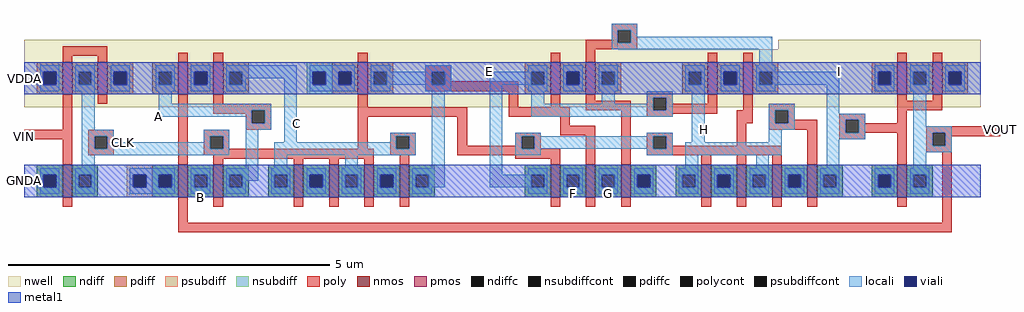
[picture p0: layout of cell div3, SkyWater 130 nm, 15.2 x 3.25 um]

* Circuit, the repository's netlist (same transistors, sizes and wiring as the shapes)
* NGSPICE file created from div3.ext - technology: sky130A

**.subckt div3
X0 B VOUT GNDA GNDA sky130_fd_pr__nfet_01v8 ad=0.1 pd=0.9 as=0.2 ps=1.8 w=0.5 l=0.15
X1 C CLK GNDA GNDA sky130_fd_pr__nfet_01v8 ad=0.1 pd=0.9 as=0.1 ps=0.9 w=0.5 l=0.15
X2 GNDA CLK H GNDA sky130_fd_pr__nfet_01v8 ad=0.1 pd=0.9 as=0.1 ps=0.9 w=0.5 l=0.15
X3 E I VDDA VDDA sky130_fd_pr__pfet_01v8 ad=0.2 pd=1.8 as=0.1 ps=0.9 w=0.5 l=0.15
X4 VOUT I GNDA GNDA sky130_fd_pr__nfet_01v8 ad=0.2 pd=1.8 as=0.2 ps=1.8 w=0.5 l=0.15
X5 VDDA E H VDDA sky130_fd_pr__pfet_01v8 ad=0.1 pd=0.9 as=0.2 ps=1.8 w=0.5 l=0.15
X6 F CLK E GNDA sky130_fd_pr__nfet_01v8 ad=0.1 pd=0.9 as=0.2 ps=1.8 w=0.5 l=0.15
X7 GNDA CLK H GNDA sky130_fd_pr__nfet_01v8 ad=0.1 pd=0.9 as=0.2 ps=1.8 w=0.5 l=0.15
X8 C A VDDA VDDA sky130_fd_pr__pfet_01v8 ad=0.2 pd=1.8 as=0.1 ps=0.9 w=0.5 l=0.15
X9 VDDA VIN CLK VDDA sky130_fd_pr__pfet_01v8 ad=0.2 pd=1.8 as=0.1 ps=0.9 w=0.5 l=0.15
X10 CLK VIN GNDA GNDA sky130_fd_pr__nfet_01v8 ad=0.2 pd=1.8 as=0.2 ps=1.8 w=0.5 l=0.15
X11 GNDA CLK C GNDA sky130_fd_pr__nfet_01v8 ad=0.1 pd=0.9 as=0.1 ps=0.9 w=0.5 l=0.15
X12 VDDA VOUT A VDDA sky130_fd_pr__pfet_01v8 ad=0.1 pd=0.9 as=0.2 ps=1.8 w=0.5 l=0.15
X13 a_2280_250# CLK VDDA VDDA sky130_fd_pr__pfet_01v8 ad=0.2 pd=1.8 as=0.2 ps=1.8 w=0.5 l=0.15
X14 I H GNDA GNDA sky130_fd_pr__nfet_01v8 ad=0.2 pd=1.8 as=0.1 ps=0.9 w=0.5 l=0.15
X15 GNDA CLK C GNDA sky130_fd_pr__nfet_01v8 ad=0.1 pd=0.9 as=0.2 ps=1.8 w=0.5 l=0.15
X16 G a_2280_250# F GNDA sky130_fd_pr__nfet_01v8 ad=0.1 pd=0.9 as=0.1 ps=0.9 w=0.5 l=0.15
X17 I CLK VDDA VDDA sky130_fd_pr__pfet_01v8 ad=0.2 pd=1.8 as=0.1 ps=0.9 w=0.5 l=0.15
X18 VOUT I VDDA VDDA sky130_fd_pr__pfet_01v8 ad=0.1 pd=0.9 as=0.2 ps=1.8 w=0.5 l=0.15
X19 H CLK GNDA GNDA sky130_fd_pr__nfet_01v8 ad=0.1 pd=0.9 as=0.1 ps=0.9 w=0.5 l=0.15
X20 VDDA a_2280_250# E VDDA sky130_fd_pr__pfet_01v8 ad=0.1 pd=0.9 as=0.2 ps=1.8 w=0.5 l=0.15
X21 A CLK B GNDA sky130_fd_pr__nfet_01v8 ad=0.2 pd=1.8 as=0.1 ps=0.9 w=0.5 l=0.15
X22 GNDA I G GNDA sky130_fd_pr__nfet_01v8 ad=0.2 pd=1.8 as=0.1 ps=0.9 w=0.5 l=0.15
X23 VDDA I VOUT VDDA sky130_fd_pr__pfet_01v8 ad=0.2 pd=1.8 as=0.1 ps=0.9 w=0.5 l=0.15
X24 a_2280_250# C GNDA GNDA sky130_fd_pr__nfet_01v8 ad=0.2 pd=1.8 as=0.1 ps=0.9 w=0.5 l=0.15
X25 CLK VIN VDDA VDDA sky130_fd_pr__pfet_01v8 ad=0.1 pd=0.9 as=0.2 ps=1.8 w=0.5 l=0.15
**.ends

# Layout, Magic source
magic
tech sky130A
<< nwell >>
rect 605 195 1530 210
rect 1780 195 2095 210
rect 605 105 2095 195
<< nmos >>
rect 665 -35 680 15
rect 845 -35 860 15
rect 900 -35 915 15
rect 1025 -35 1040 15
rect 1080 -35 1095 15
rect 1135 -35 1150 15
rect 1190 -35 1205 15
rect 1425 -35 1440 15
rect 1480 -35 1495 15
rect 1535 -35 1550 15
rect 1660 -35 1675 15
rect 1715 -35 1730 15
rect 1770 -35 1785 15
rect 1825 -35 1840 15
rect 1965 -35 1980 15
<< pmos >>
rect 665 125 680 175
rect 720 125 735 175
rect 845 125 860 175
rect 900 125 915 175
rect 1125 125 1140 175
rect 1425 125 1440 175
rect 1480 125 1495 175
rect 1670 125 1685 175
rect 1725 125 1740 175
rect 1965 125 1980 175
rect 2020 125 2035 175
<< ndiff >>
rect 625 0 665 15
rect 625 -20 635 0
rect 655 -20 665 0
rect 625 -35 665 -20
rect 680 0 720 15
rect 680 -20 690 0
rect 710 -20 720 0
rect 680 -35 720 -20
rect 805 0 845 15
rect 805 -20 815 0
rect 835 -20 845 0
rect 805 -35 845 -20
rect 860 0 900 15
rect 860 -20 870 0
rect 890 -20 900 0
rect 860 -35 900 -20
rect 915 0 955 15
rect 915 -20 925 0
rect 945 -20 955 0
rect 915 -35 955 -20
rect 985 0 1025 15
rect 985 -20 995 0
rect 1015 -20 1025 0
rect 985 -35 1025 -20
rect 1040 0 1080 15
rect 1040 -20 1050 0
rect 1070 -20 1080 0
rect 1040 -35 1080 -20
rect 1095 0 1135 15
rect 1095 -20 1105 0
rect 1125 -20 1135 0
rect 1095 -35 1135 -20
rect 1150 0 1190 15
rect 1150 -20 1160 0
rect 1180 -20 1190 0
rect 1150 -35 1190 -20
rect 1205 0 1245 15
rect 1205 -20 1215 0
rect 1235 -20 1245 0
rect 1205 -35 1245 -20
rect 1385 0 1425 15
rect 1385 -20 1395 0
rect 1415 -20 1425 0
rect 1385 -35 1425 -20
rect 1440 0 1480 15
rect 1440 -20 1450 0
rect 1470 -20 1480 0
rect 1440 -35 1480 -20
rect 1495 0 1535 15
rect 1495 -20 1505 0
rect 1525 -20 1535 0
rect 1495 -35 1535 -20
rect 1550 0 1590 15
rect 1550 -20 1560 0
rect 1580 -20 1590 0
rect 1550 -35 1590 -20
rect 1620 0 1660 15
rect 1620 -20 1630 0
rect 1650 -20 1660 0
rect 1620 -35 1660 -20
rect 1675 0 1715 15
rect 1675 -20 1685 0
rect 1705 -20 1715 0
rect 1675 -35 1715 -20
rect 1730 0 1770 15
rect 1730 -20 1740 0
rect 1760 -20 1770 0
rect 1730 -35 1770 -20
rect 1785 0 1825 15
rect 1785 -20 1795 0
rect 1815 -20 1825 0
rect 1785 -35 1825 -20
rect 1840 0 1880 15
rect 1840 -20 1850 0
rect 1870 -20 1880 0
rect 1840 -35 1880 -20
rect 1925 0 1965 15
rect 1925 -20 1935 0
rect 1955 -20 1965 0
rect 1925 -35 1965 -20
rect 1980 0 2020 15
rect 1980 -20 1990 0
rect 2010 -20 2020 0
rect 1980 -35 2020 -20
<< pdiff >>
rect 625 160 665 175
rect 625 140 635 160
rect 655 140 665 160
rect 625 125 665 140
rect 680 160 720 175
rect 680 140 690 160
rect 710 140 720 160
rect 680 125 720 140
rect 735 160 775 175
rect 735 140 745 160
rect 765 140 775 160
rect 735 125 775 140
rect 805 160 845 175
rect 805 140 815 160
rect 835 140 845 160
rect 805 125 845 140
rect 860 160 900 175
rect 860 140 870 160
rect 890 140 900 160
rect 860 125 900 140
rect 915 160 955 175
rect 915 140 925 160
rect 945 140 955 160
rect 915 125 955 140
rect 1085 160 1125 175
rect 1085 140 1095 160
rect 1115 140 1125 160
rect 1085 125 1125 140
rect 1140 160 1180 175
rect 1140 140 1150 160
rect 1170 140 1180 160
rect 1140 125 1180 140
rect 1385 160 1425 175
rect 1385 140 1395 160
rect 1415 140 1425 160
rect 1385 125 1425 140
rect 1440 160 1480 175
rect 1440 140 1450 160
rect 1470 140 1480 160
rect 1440 125 1480 140
rect 1495 160 1535 175
rect 1495 140 1505 160
rect 1525 140 1535 160
rect 1495 125 1535 140
rect 1630 160 1670 175
rect 1630 140 1640 160
rect 1660 140 1670 160
rect 1630 125 1670 140
rect 1685 160 1725 175
rect 1685 140 1695 160
rect 1715 140 1725 160
rect 1685 125 1725 140
rect 1740 160 1780 175
rect 1740 140 1750 160
rect 1770 140 1780 160
rect 1740 125 1780 140
rect 1925 160 1965 175
rect 1925 140 1935 160
rect 1955 140 1965 160
rect 1925 125 1965 140
rect 1980 160 2020 175
rect 1980 140 1990 160
rect 2010 140 2020 160
rect 1980 125 2020 140
rect 2035 160 2075 175
rect 2035 140 2045 160
rect 2065 140 2075 160
rect 2035 125 2075 140
<< ndiffc >>
rect 635 -20 655 0
rect 690 -20 710 0
rect 815 -20 835 0
rect 870 -20 890 0
rect 925 -20 945 0
rect 995 -20 1015 0
rect 1050 -20 1070 0
rect 1105 -20 1125 0
rect 1160 -20 1180 0
rect 1215 -20 1235 0
rect 1395 -20 1415 0
rect 1450 -20 1470 0
rect 1505 -20 1525 0
rect 1560 -20 1580 0
rect 1630 -20 1650 0
rect 1685 -20 1705 0
rect 1740 -20 1760 0
rect 1795 -20 1815 0
rect 1850 -20 1870 0
rect 1935 -20 1955 0
rect 1990 -20 2010 0
<< pdiffc >>
rect 635 140 655 160
rect 690 140 710 160
rect 745 140 765 160
rect 815 140 835 160
rect 870 140 890 160
rect 925 140 945 160
rect 1095 140 1115 160
rect 1150 140 1170 160
rect 1395 140 1415 160
rect 1450 140 1470 160
rect 1505 140 1525 160
rect 1640 140 1660 160
rect 1695 140 1715 160
rect 1750 140 1770 160
rect 1935 140 1955 160
rect 1990 140 2010 160
rect 2045 140 2065 160
<< psubdiff >>
rect 765 0 805 15
rect 765 -20 775 0
rect 795 -20 805 0
rect 765 -35 805 -20
<< nsubdiff >>
rect 1045 160 1085 175
rect 1045 140 1055 160
rect 1075 140 1085 160
rect 1045 125 1085 140
<< psubdiffcont >>
rect 775 -20 795 0
<< nsubdiffcont >>
rect 1055 140 1075 160
<< poly >>
rect 1520 225 1560 235
rect 1520 210 1530 225
rect 1480 205 1530 210
rect 1550 205 1560 225
rect 665 185 735 200
rect 1480 195 1560 205
rect 665 175 680 185
rect 720 175 735 185
rect 845 175 860 190
rect 900 175 915 190
rect 1125 175 1140 190
rect 1425 175 1440 190
rect 1480 175 1495 195
rect 1670 175 1685 190
rect 1725 175 1740 190
rect 1965 175 1980 190
rect 2020 175 2035 190
rect 1230 160 1270 170
rect 1230 140 1240 160
rect 1260 145 1270 160
rect 1260 140 1375 145
rect 1230 130 1375 140
rect 665 70 680 125
rect 720 110 735 125
rect 605 55 680 70
rect 665 15 680 55
rect 705 60 745 70
rect 705 40 715 60
rect 735 40 745 60
rect 705 30 745 40
rect 845 15 860 125
rect 900 110 915 125
rect 900 100 990 110
rect 900 95 960 100
rect 950 80 960 95
rect 980 80 990 100
rect 950 70 990 80
rect 1125 105 1140 125
rect 1360 105 1375 130
rect 1425 105 1440 125
rect 1480 115 1495 125
rect 1575 120 1615 130
rect 1125 90 1295 105
rect 1360 90 1455 105
rect 1480 100 1550 115
rect 885 60 925 70
rect 885 40 895 60
rect 915 40 925 60
rect 1125 40 1140 90
rect 1175 60 1215 65
rect 1175 40 1185 60
rect 1205 40 1215 60
rect 885 30 1150 40
rect 1175 30 1215 40
rect 1280 45 1295 90
rect 1440 76 1455 90
rect 1370 60 1410 65
rect 1440 61 1495 76
rect 1370 45 1380 60
rect 1280 40 1380 45
rect 1400 40 1410 60
rect 1280 30 1440 40
rect 900 25 1150 30
rect 900 15 915 25
rect 1025 15 1040 25
rect 1080 15 1095 25
rect 1135 15 1150 25
rect 1190 15 1205 30
rect 1370 25 1440 30
rect 1425 15 1440 25
rect 1480 15 1495 61
rect 1535 15 1550 100
rect 1575 100 1585 120
rect 1605 110 1615 120
rect 1670 110 1685 125
rect 1605 100 1685 110
rect 1725 100 1740 125
rect 1965 115 1980 125
rect 2020 115 2035 125
rect 1575 95 1685 100
rect 1575 90 1615 95
rect 1715 80 1740 100
rect 1765 100 1805 110
rect 1765 80 1775 100
rect 1795 85 1805 100
rect 1965 100 2035 115
rect 1875 85 1915 95
rect 1795 80 1840 85
rect 1575 60 1615 65
rect 1575 40 1585 60
rect 1605 45 1615 60
rect 1715 45 1730 80
rect 1765 70 1840 80
rect 1605 40 1785 45
rect 1575 30 1785 40
rect 1660 15 1675 30
rect 1715 15 1730 30
rect 1770 15 1785 30
rect 1825 15 1840 70
rect 1875 65 1885 85
rect 1905 80 1915 85
rect 1965 80 1980 100
rect 1905 65 1980 80
rect 1875 55 1915 65
rect 1965 15 1980 65
rect 2010 65 2125 75
rect 2010 45 2020 65
rect 2040 60 2125 65
rect 2040 45 2050 60
rect 2010 35 2050 45
rect 665 -50 680 -35
rect 845 -75 860 -35
rect 900 -50 915 -35
rect 1025 -50 1040 -35
rect 1080 -50 1095 -35
rect 1135 -50 1150 -35
rect 1190 -50 1205 -35
rect 1425 -50 1440 -35
rect 1480 -50 1495 -35
rect 1535 -50 1550 -35
rect 1660 -50 1675 -35
rect 1715 -50 1730 -35
rect 1770 -50 1785 -35
rect 1825 -50 1840 -35
rect 1965 -50 1980 -35
rect 2035 -75 2050 35
rect 845 -90 2050 -75
<< polycont >>
rect 1530 205 1550 225
rect 1240 140 1260 160
rect 715 40 735 60
rect 960 80 980 100
rect 895 40 915 60
rect 1185 40 1205 60
rect 1380 40 1400 60
rect 1585 100 1605 120
rect 1775 80 1795 100
rect 1585 40 1605 60
rect 1885 65 1905 85
rect 2020 45 2040 65
<< locali >>
rect 1520 225 1560 235
rect 1520 205 1530 225
rect 1550 215 1560 225
rect 1550 205 1770 215
rect 1520 195 1770 205
rect 1750 170 1770 195
rect 630 160 660 170
rect 630 140 635 160
rect 655 140 660 160
rect 630 130 660 140
rect 685 160 715 170
rect 685 140 690 160
rect 710 140 715 160
rect 685 130 715 140
rect 740 160 770 170
rect 740 140 745 160
rect 765 140 770 160
rect 740 130 770 140
rect 810 160 840 170
rect 810 140 815 160
rect 835 140 840 160
rect 810 130 840 140
rect 865 160 895 170
rect 865 140 870 160
rect 890 140 895 160
rect 865 130 895 140
rect 920 160 1030 170
rect 920 140 925 160
rect 945 150 1030 160
rect 945 140 950 150
rect 920 130 950 140
rect 695 70 715 130
rect 815 110 835 130
rect 815 100 990 110
rect 815 90 960 100
rect 950 80 960 90
rect 980 80 990 100
rect 950 70 990 80
rect 695 60 745 70
rect 695 40 715 60
rect 735 50 745 60
rect 885 60 925 70
rect 885 50 895 60
rect 735 40 895 50
rect 915 40 925 60
rect 695 30 925 40
rect 695 10 715 30
rect 950 10 970 70
rect 1010 50 1030 150
rect 1050 160 1120 170
rect 1050 140 1055 160
rect 1075 140 1095 160
rect 1115 140 1120 160
rect 1050 130 1120 140
rect 1145 160 1175 170
rect 1230 160 1270 170
rect 1390 160 1420 170
rect 1145 140 1150 160
rect 1170 140 1240 160
rect 1260 140 1270 160
rect 1145 130 1175 140
rect 1230 130 1270 140
rect 1330 140 1395 160
rect 1415 140 1420 160
rect 1175 60 1215 65
rect 1175 50 1185 60
rect 995 40 1185 50
rect 1205 40 1215 60
rect 995 30 1215 40
rect 995 10 1015 30
rect 1105 10 1125 30
rect 1240 10 1260 130
rect 630 0 660 10
rect 630 -20 635 0
rect 655 -20 660 0
rect 630 -30 660 -20
rect 685 0 715 10
rect 685 -20 690 0
rect 710 -20 715 0
rect 685 -30 715 -20
rect 770 0 840 10
rect 770 -20 775 0
rect 795 -20 815 0
rect 835 -20 840 0
rect 770 -30 840 -20
rect 865 0 895 10
rect 865 -20 870 0
rect 890 -20 895 0
rect 865 -30 895 -20
rect 920 0 970 10
rect 920 -20 925 0
rect 945 -10 970 0
rect 990 0 1020 10
rect 945 -20 950 -10
rect 920 -30 950 -20
rect 990 -20 995 0
rect 1015 -20 1020 0
rect 990 -30 1020 -20
rect 1045 0 1075 10
rect 1045 -20 1050 0
rect 1070 -20 1075 0
rect 1045 -30 1075 -20
rect 1100 0 1130 10
rect 1100 -20 1105 0
rect 1125 -20 1130 0
rect 1100 -30 1130 -20
rect 1155 0 1185 10
rect 1155 -20 1160 0
rect 1180 -20 1185 0
rect 1155 -30 1185 -20
rect 1210 0 1260 10
rect 1210 -20 1215 0
rect 1235 -20 1260 0
rect 1330 0 1350 140
rect 1390 130 1420 140
rect 1445 160 1475 170
rect 1445 140 1450 160
rect 1470 140 1475 160
rect 1445 130 1475 140
rect 1500 160 1530 170
rect 1500 140 1505 160
rect 1525 140 1530 160
rect 1500 130 1530 140
rect 1635 160 1665 170
rect 1635 140 1640 160
rect 1660 140 1665 160
rect 1635 130 1665 140
rect 1690 160 1720 170
rect 1690 140 1695 160
rect 1715 140 1720 160
rect 1690 130 1720 140
rect 1745 160 1775 170
rect 1930 160 1960 170
rect 1745 140 1750 160
rect 1770 140 1875 160
rect 1745 130 1775 140
rect 1395 110 1415 130
rect 1505 110 1525 130
rect 1575 120 1615 130
rect 1575 110 1585 120
rect 1395 100 1585 110
rect 1605 100 1615 120
rect 1395 90 1615 100
rect 1370 60 1410 65
rect 1575 60 1615 65
rect 1370 40 1380 60
rect 1400 40 1585 60
rect 1605 40 1615 60
rect 1645 50 1665 130
rect 1765 100 1805 110
rect 1765 80 1775 100
rect 1795 80 1805 100
rect 1765 70 1805 80
rect 1855 95 1875 140
rect 1930 140 1935 160
rect 1955 140 1960 160
rect 1930 130 1960 140
rect 1985 160 2015 170
rect 1985 140 1990 160
rect 2010 140 2015 160
rect 1985 130 2015 140
rect 2040 160 2070 170
rect 2040 140 2045 160
rect 2065 140 2070 160
rect 2040 130 2070 140
rect 1855 85 1915 95
rect 1765 50 1785 70
rect 1370 30 1410 40
rect 1575 30 1615 40
rect 1635 30 1785 50
rect 1855 65 1885 85
rect 1905 65 1915 85
rect 1855 55 1915 65
rect 1990 75 2010 130
rect 1990 65 2050 75
rect 1635 10 1655 30
rect 1745 10 1765 30
rect 1855 10 1875 55
rect 1990 45 2020 65
rect 2040 45 2050 65
rect 1990 35 2050 45
rect 1990 10 2010 35
rect 1390 0 1420 10
rect 1330 -20 1395 0
rect 1415 -20 1420 0
rect 1210 -30 1240 -20
rect 1390 -30 1420 -20
rect 1445 0 1475 10
rect 1445 -20 1450 0
rect 1470 -20 1475 0
rect 1445 -30 1475 -20
rect 1500 0 1530 10
rect 1500 -20 1505 0
rect 1525 -20 1530 0
rect 1500 -30 1530 -20
rect 1555 0 1585 10
rect 1555 -20 1560 0
rect 1580 -20 1585 0
rect 1555 -30 1585 -20
rect 1625 0 1655 10
rect 1625 -20 1630 0
rect 1650 -20 1655 0
rect 1625 -30 1655 -20
rect 1680 0 1710 10
rect 1680 -20 1685 0
rect 1705 -20 1710 0
rect 1680 -30 1710 -20
rect 1735 0 1765 10
rect 1735 -20 1740 0
rect 1760 -20 1765 0
rect 1735 -30 1765 -20
rect 1790 0 1820 10
rect 1790 -20 1795 0
rect 1815 -20 1820 0
rect 1790 -30 1820 -20
rect 1845 0 1875 10
rect 1845 -20 1850 0
rect 1870 -20 1875 0
rect 1845 -30 1875 -20
rect 1930 0 1960 10
rect 1930 -20 1935 0
rect 1955 -20 1960 0
rect 1930 -30 1960 -20
rect 1985 0 2015 10
rect 1985 -20 1990 0
rect 2010 -20 2015 0
rect 1985 -30 2015 -20
<< viali >>
rect 635 140 655 160
rect 745 140 765 160
rect 870 140 890 160
rect 1055 140 1075 160
rect 1095 140 1115 160
rect 635 -20 655 0
rect 775 -20 795 0
rect 815 -20 835 0
rect 1050 -20 1070 0
rect 1160 -20 1180 0
rect 1450 140 1470 160
rect 1695 140 1715 160
rect 1935 140 1955 160
rect 2045 140 2065 160
rect 1560 -20 1580 0
rect 1685 -20 1705 0
rect 1795 -20 1815 0
rect 1935 -20 1955 0
<< metal1 >>
rect 605 160 2095 175
rect 605 140 635 160
rect 655 140 745 160
rect 765 140 870 160
rect 890 140 1055 160
rect 1075 140 1095 160
rect 1115 140 1450 160
rect 1470 140 1695 160
rect 1715 140 1935 160
rect 1955 140 2045 160
rect 2065 140 2095 160
rect 605 125 2095 140
rect 605 0 2095 15
rect 605 -20 635 0
rect 655 -20 775 0
rect 795 -20 815 0
rect 835 -20 1050 0
rect 1070 -20 1160 0
rect 1180 -20 1560 0
rect 1580 -20 1685 0
rect 1705 -20 1795 0
rect 1815 -20 1935 0
rect 1955 -20 2095 0
rect 605 -35 2095 -20
<< labels >>
flabel locali 1030 80 1030 80 3 FreeSans 160 0 80 0 C
flabel locali 815 90 815 90 5 FreeSans 160 0 0 0 A
flabel locali 760 50 760 50 1 FreeSans 160 0 0 80 CLK
flabel poly 605 60 605 60 7 FreeSans 160 0 -80 0 VIN
flabel metal1 605 -10 605 -10 7 FreeSans 160 0 -80 0 GNDA
flabel metal1 605 150 605 150 7 FreeSans 160 0 -80 0 VDDA
flabel ndiff 880 -35 880 -35 5 FreeSans 160 0 0 -80 B
flabel locali 1330 160 1330 160 7 FreeSans 160 0 -80 0 E
flabel locali 1460 -30 1460 -30 5 FreeSans 160 0 0 -80 F
flabel locali 1515 -30 1515 -30 5 FreeSans 160 0 0 -80 G
flabel locali 1665 70 1665 70 3 FreeSans 160 0 80 0 H
flabel locali 1875 160 1875 160 3 FreeSans 160 0 80 0 I
flabel poly 2125 70 2125 70 3 FreeSans 160 0 80 0 VOUT
<< end >>
